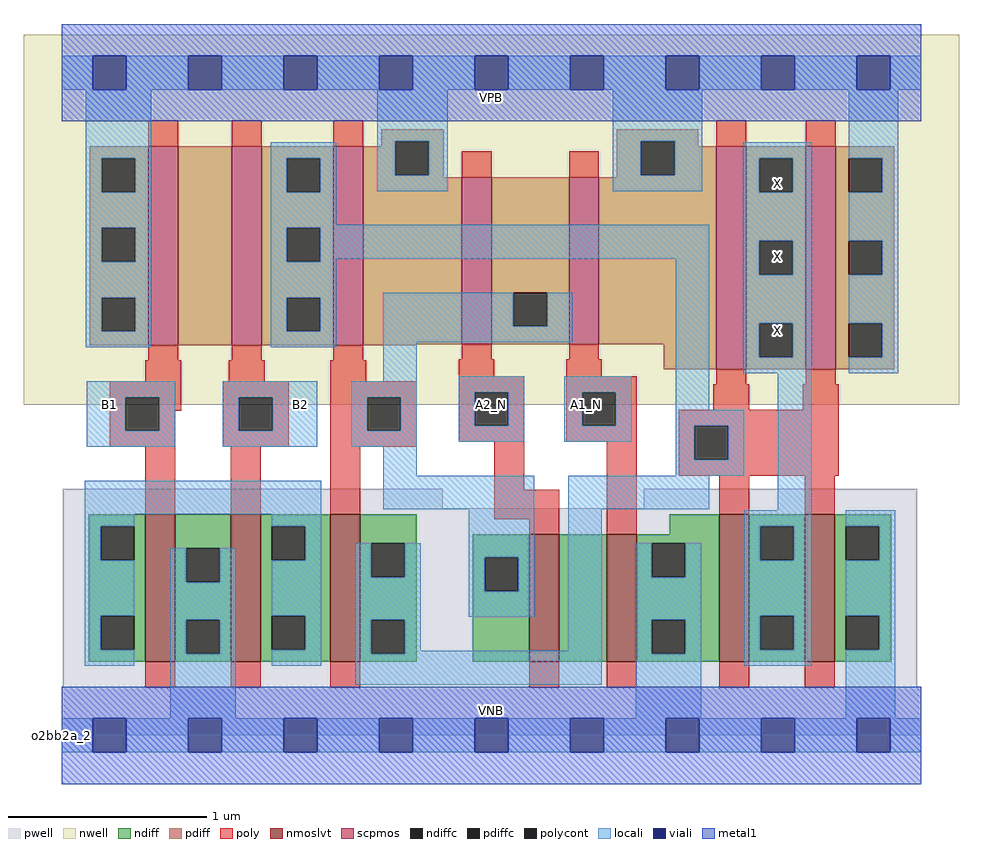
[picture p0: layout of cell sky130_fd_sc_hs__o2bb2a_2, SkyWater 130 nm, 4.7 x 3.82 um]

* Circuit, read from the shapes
.subckt sky130_fd_sc_hs__o2bb2a_2 A1_N A2_N B1 B2 VGND VNB VPB VPWR X
XM1 VGND B1 n1 VNB sky130_fd_pr__nfet_01v8_lvt w=0.74 l=0.15
XM2 n1 B2 VGND VNB sky130_fd_pr__nfet_01v8_lvt w=0.74 l=0.15
XM3 n2 n3 n1 VNB sky130_fd_pr__nfet_01v8_lvt w=0.74 l=0.15
XM4 n4 A2_N n3 VNB sky130_fd_pr__nfet_01v8_lvt w=0.64 l=0.15
XM5 VGND A1_N n4 VNB sky130_fd_pr__nfet_01v8_lvt w=0.64 l=0.15
XM6 X n2 VGND VNB sky130_fd_pr__nfet_01v8_lvt w=0.74 l=0.15 m=2
XM7 n5 B1 VPWR VPB sky130_fd_pr__pfet_01v8 w=1 l=0.15
XM8 n2 B2 n5 VPB sky130_fd_pr__pfet_01v8 w=1 l=0.15
XM9 VPWR n3 n2 VPB sky130_fd_pr__pfet_01v8 w=1 l=0.15
XM10 n3 A2_N VPWR VPB sky130_fd_pr__pfet_01v8 w=0.84 l=0.15
XM11 VPWR A1_N n3 VPB sky130_fd_pr__pfet_01v8 w=0.84 l=0.15
XM12 X n2 VPWR VPB sky130_fd_pr__pfet_01v8 w=1.12 l=0.15 m=2
.ends

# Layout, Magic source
magic
tech sky130A
magscale 1 2
<< nwell >>
rect -38 332 902 704
<< pwell >>
rect 1 228 383 248
rect 585 228 860 248
rect 1 49 860 228
rect 0 0 864 49
<< scpmos >>
rect 87 392 117 592
rect 171 392 201 592
rect 273 392 303 592
rect 402 393 432 561
rect 510 393 540 561
rect 658 368 688 592
rect 748 368 778 592
<< nmoslvt >>
rect 84 74 114 222
rect 170 74 200 222
rect 270 74 300 222
rect 470 74 500 202
rect 548 74 578 202
rect 661 74 691 222
rect 747 74 777 222
<< ndiff >>
rect 27 210 84 222
rect 27 176 39 210
rect 73 176 84 210
rect 27 120 84 176
rect 27 86 39 120
rect 73 86 84 120
rect 27 74 84 86
rect 114 188 170 222
rect 114 154 125 188
rect 159 154 170 188
rect 114 116 170 154
rect 114 82 125 116
rect 159 82 170 116
rect 114 74 170 82
rect 200 210 270 222
rect 200 176 211 210
rect 245 176 270 210
rect 200 120 270 176
rect 200 86 211 120
rect 245 86 270 120
rect 200 74 270 86
rect 300 193 357 222
rect 611 202 661 222
rect 300 159 311 193
rect 345 159 357 193
rect 300 116 357 159
rect 300 82 311 116
rect 345 82 357 116
rect 300 74 357 82
rect 413 179 470 202
rect 413 145 425 179
rect 459 145 470 179
rect 413 74 470 145
rect 500 74 548 202
rect 578 193 661 202
rect 578 159 593 193
rect 627 159 661 193
rect 578 116 661 159
rect 578 82 593 116
rect 627 82 661 116
rect 578 74 661 82
rect 691 210 747 222
rect 691 176 702 210
rect 736 176 747 210
rect 691 120 747 176
rect 691 86 702 120
rect 736 86 747 120
rect 691 74 747 86
rect 777 210 834 222
rect 777 176 788 210
rect 822 176 834 210
rect 777 120 834 176
rect 777 86 788 120
rect 822 86 834 120
rect 777 74 834 86
<< pdiff >>
rect 321 597 384 609
rect 321 592 335 597
rect 28 580 87 592
rect 28 546 40 580
rect 74 546 87 580
rect 28 510 87 546
rect 28 476 40 510
rect 74 476 87 510
rect 28 440 87 476
rect 28 406 40 440
rect 74 406 87 440
rect 28 392 87 406
rect 117 392 171 592
rect 201 580 273 592
rect 201 546 226 580
rect 260 546 273 580
rect 201 510 273 546
rect 201 476 226 510
rect 260 476 273 510
rect 201 440 273 476
rect 201 406 226 440
rect 260 406 273 440
rect 201 392 273 406
rect 303 563 335 592
rect 369 563 384 597
rect 558 597 640 609
rect 303 561 384 563
rect 558 563 582 597
rect 616 592 640 597
rect 616 563 658 592
rect 558 561 658 563
rect 303 393 402 561
rect 432 445 510 561
rect 432 411 454 445
rect 488 411 510 445
rect 432 393 510 411
rect 540 393 658 561
rect 303 392 356 393
rect 605 368 658 393
rect 688 580 748 592
rect 688 546 701 580
rect 735 546 748 580
rect 688 497 748 546
rect 688 463 701 497
rect 735 463 748 497
rect 688 414 748 463
rect 688 380 701 414
rect 735 380 748 414
rect 688 368 748 380
rect 778 580 837 592
rect 778 546 791 580
rect 825 546 837 580
rect 778 497 837 546
rect 778 463 791 497
rect 825 463 837 497
rect 778 414 837 463
rect 778 380 791 414
rect 825 380 837 414
rect 778 368 837 380
<< ndiffc >>
rect 39 176 73 210
rect 39 86 73 120
rect 125 154 159 188
rect 125 82 159 116
rect 211 176 245 210
rect 211 86 245 120
rect 311 159 345 193
rect 311 82 345 116
rect 425 145 459 179
rect 593 159 627 193
rect 593 82 627 116
rect 702 176 736 210
rect 702 86 736 120
rect 788 176 822 210
rect 788 86 822 120
<< pdiffc >>
rect 40 546 74 580
rect 40 476 74 510
rect 40 406 74 440
rect 226 546 260 580
rect 226 476 260 510
rect 226 406 260 440
rect 335 563 369 597
rect 582 563 616 597
rect 454 411 488 445
rect 701 546 735 580
rect 701 463 735 497
rect 701 380 735 414
rect 791 546 825 580
rect 791 463 825 497
rect 791 380 825 414
<< poly >>
rect 87 592 117 618
rect 171 592 201 618
rect 273 592 303 618
rect 402 561 432 587
rect 510 561 540 587
rect 658 592 688 618
rect 748 592 778 618
rect 87 377 117 392
rect 171 377 201 392
rect 273 377 303 392
rect 402 378 432 393
rect 510 378 540 393
rect 84 356 120 377
rect 168 356 204 377
rect 270 356 306 377
rect 399 361 435 378
rect 507 361 543 378
rect 48 340 120 356
rect 48 306 64 340
rect 98 326 120 340
rect 162 340 228 356
rect 98 306 114 326
rect 48 290 114 306
rect 162 306 178 340
rect 212 306 228 340
rect 162 290 228 306
rect 270 340 357 356
rect 270 306 307 340
rect 341 306 357 340
rect 270 290 357 306
rect 399 345 465 361
rect 399 311 415 345
rect 449 311 465 345
rect 399 295 465 311
rect 507 345 578 361
rect 658 353 688 368
rect 748 353 778 368
rect 507 311 523 345
rect 557 311 578 345
rect 655 327 691 353
rect 745 327 781 353
rect 507 295 578 311
rect 84 222 114 290
rect 170 222 200 290
rect 270 222 300 290
rect 435 247 465 295
rect 435 217 500 247
rect 470 202 500 217
rect 548 202 578 295
rect 620 311 781 327
rect 620 277 636 311
rect 670 277 781 311
rect 620 261 781 277
rect 661 222 691 261
rect 747 222 777 261
rect 84 48 114 74
rect 170 48 200 74
rect 270 48 300 74
rect 470 48 500 74
rect 548 48 578 74
rect 661 48 691 74
rect 747 48 777 74
<< polycont >>
rect 64 306 98 340
rect 178 306 212 340
rect 307 306 341 340
rect 415 311 449 345
rect 523 311 557 345
rect 636 277 670 311
<< locali >>
rect 0 649 31 683
rect 65 649 127 683
rect 161 649 223 683
rect 257 649 319 683
rect 353 649 415 683
rect 449 649 511 683
rect 545 649 607 683
rect 641 649 703 683
rect 737 649 799 683
rect 833 649 864 683
rect 24 580 90 649
rect 317 597 388 649
rect 24 546 40 580
rect 74 546 90 580
rect 24 510 90 546
rect 24 476 40 510
rect 74 476 90 510
rect 24 440 90 476
rect 24 406 40 440
rect 74 406 90 440
rect 24 390 90 406
rect 210 580 276 596
rect 210 546 226 580
rect 260 546 276 580
rect 317 563 335 597
rect 369 563 388 597
rect 317 547 388 563
rect 554 597 644 649
rect 554 563 582 597
rect 616 563 644 597
rect 554 547 644 563
rect 685 580 754 596
rect 210 513 276 546
rect 685 546 701 580
rect 735 546 754 580
rect 210 510 651 513
rect 210 476 226 510
rect 260 479 651 510
rect 260 476 276 479
rect 210 440 276 476
rect 210 406 226 440
rect 260 406 276 440
rect 210 390 276 406
rect 323 411 454 445
rect 488 411 513 445
rect 323 395 513 411
rect 323 356 357 395
rect 25 340 114 356
rect 25 306 64 340
rect 98 306 114 340
rect 25 290 114 306
rect 162 340 257 356
rect 162 306 178 340
rect 212 306 257 340
rect 162 290 257 306
rect 291 340 357 356
rect 291 306 307 340
rect 341 306 357 340
rect 291 290 357 306
rect 399 345 465 361
rect 399 311 415 345
rect 449 311 465 345
rect 399 295 465 311
rect 505 345 573 361
rect 505 311 523 345
rect 557 311 573 345
rect 505 295 573 311
rect 617 327 651 479
rect 685 497 754 546
rect 685 463 701 497
rect 735 463 754 497
rect 685 414 754 463
rect 685 380 701 414
rect 735 380 754 414
rect 685 364 754 380
rect 791 580 841 649
rect 825 546 841 580
rect 791 497 841 546
rect 825 463 841 497
rect 791 414 841 463
rect 825 380 841 414
rect 791 364 841 380
rect 617 311 686 327
rect 323 261 357 290
rect 617 277 636 311
rect 670 277 686 311
rect 617 261 686 277
rect 23 222 261 256
rect 323 227 475 261
rect 23 210 73 222
rect 23 176 39 210
rect 211 210 261 222
rect 23 120 73 176
rect 23 86 39 120
rect 23 70 73 86
rect 109 154 125 188
rect 159 154 175 188
rect 109 116 175 154
rect 109 82 125 116
rect 159 82 175 116
rect 109 17 175 82
rect 245 176 261 210
rect 211 120 261 176
rect 245 86 261 120
rect 211 70 261 86
rect 295 159 311 193
rect 345 159 361 193
rect 295 116 361 159
rect 409 179 475 227
rect 409 145 425 179
rect 459 145 475 179
rect 409 119 475 145
rect 509 227 651 261
rect 295 82 311 116
rect 345 85 361 116
rect 509 85 543 227
rect 720 226 754 364
rect 686 210 754 226
rect 345 82 543 85
rect 295 51 543 82
rect 577 159 593 193
rect 627 159 643 193
rect 577 116 643 159
rect 577 82 593 116
rect 627 82 643 116
rect 577 17 643 82
rect 686 176 702 210
rect 736 176 754 210
rect 686 120 754 176
rect 686 86 702 120
rect 736 86 754 120
rect 686 70 754 86
rect 788 210 838 226
rect 822 176 838 210
rect 788 120 838 176
rect 822 86 838 120
rect 788 17 838 86
rect 0 -17 31 17
rect 65 -17 127 17
rect 161 -17 223 17
rect 257 -17 319 17
rect 353 -17 415 17
rect 449 -17 511 17
rect 545 -17 607 17
rect 641 -17 703 17
rect 737 -17 799 17
rect 833 -17 864 17
<< viali >>
rect 31 649 65 683
rect 127 649 161 683
rect 223 649 257 683
rect 319 649 353 683
rect 415 649 449 683
rect 511 649 545 683
rect 607 649 641 683
rect 703 649 737 683
rect 799 649 833 683
rect 31 -17 65 17
rect 127 -17 161 17
rect 223 -17 257 17
rect 319 -17 353 17
rect 415 -17 449 17
rect 511 -17 545 17
rect 607 -17 641 17
rect 703 -17 737 17
rect 799 -17 833 17
<< metal1 >>
rect 0 683 864 715
rect 0 649 31 683
rect 65 649 127 683
rect 161 649 223 683
rect 257 649 319 683
rect 353 649 415 683
rect 449 649 511 683
rect 545 649 607 683
rect 641 649 703 683
rect 737 649 799 683
rect 833 649 864 683
rect 0 617 864 649
rect 0 17 864 49
rect 0 -17 31 17
rect 65 -17 127 17
rect 161 -17 223 17
rect 257 -17 319 17
rect 353 -17 415 17
rect 449 -17 511 17
rect 545 -17 607 17
rect 641 -17 703 17
rect 737 -17 799 17
rect 833 -17 864 17
rect 0 -49 864 -17
<< labels >>
rlabel comment s 0 0 0 0 4 o2bb2a_2
flabel pwell s 0 0 864 49 0 FreeSans 200 0 0 0 VNB
port 6 nsew ground bidirectional
flabel nwell s 0 617 864 666 0 FreeSans 200 0 0 0 VPB
port 7 nsew power bidirectional
flabel metal1 s 0 617 864 666 0 FreeSans 340 0 0 0 VPWR
port 8 nsew power bidirectional
flabel metal1 s 0 0 864 49 0 FreeSans 340 0 0 0 VGND
port 5 nsew ground bidirectional
flabel locali s 511 316 545 350 0 FreeSans 340 0 0 0 A1_N
port 1 nsew signal input
flabel locali s 415 316 449 350 0 FreeSans 340 0 0 0 A2_N
port 2 nsew signal input
flabel locali s 703 390 737 424 0 FreeSans 340 0 0 0 X
port 9 nsew signal output
flabel locali s 703 464 737 498 0 FreeSans 340 0 0 0 X
port 9 nsew signal output
flabel locali s 703 538 737 572 0 FreeSans 340 0 0 0 X
port 9 nsew signal output
flabel locali s 31 316 65 350 0 FreeSans 340 0 0 0 B1
port 3 nsew signal input
flabel locali s 223 316 257 350 0 FreeSans 340 0 0 0 B2
port 4 nsew signal input
<< properties >>
string LEFsite unit
string LEFclass CORE
string FIXED_BBOX 0 0 864 666
string GDS_FILE $PDKPATH/libs.ref/sky130_fd_sc_hs/gds/sky130_fd_sc_hs.gds
string LEFsymmetry X Y
string GDS_END 2587078
string GDS_START 2579026
<< end >>
